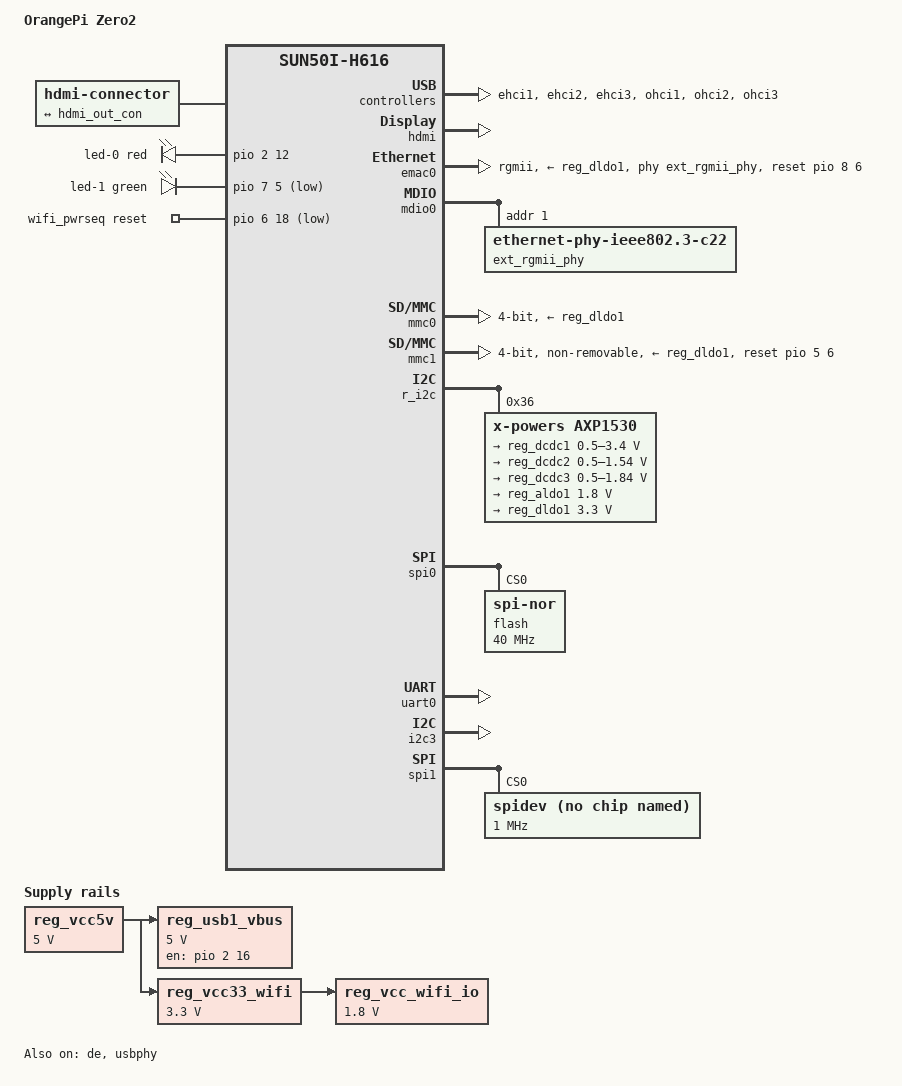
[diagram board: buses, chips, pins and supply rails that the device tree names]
// SPDX-License-Identifier: (GPL-2.0+ or MIT)
/*
 * Copyright (C) 2020 Arm Ltd.
 */

/dts-v1/;

#include "sun50i-h616.dtsi"
#include <dt-bindings/gpio/gpio.h>
#include <dt-bindings/interrupt-controller/arm-gic.h>
#include <dt-bindings/leds/common.h>

/ {
	model = "OrangePi Zero2";
	compatible = "xunlong,orangepi-zero2", "allwinner,sun50i-h616";

	aliases {
		ethernet0 = &emac0;
		serial0 = &uart0;
		// serial1 = &uart1;
	};

	chosen {
		stdout-path = "serial0:115200n8";
	};

	connector {
		compatible = "hdmi-connector";
		type = "d";

		port {
			hdmi_con_in: endpoint {
				remote-endpoint = <&hdmi_out_con>;
			};
		};
	};

	leds {
		compatible = "gpio-leds";

		led-0 {
			function = LED_FUNCTION_POWER;
			color = <LED_COLOR_ID_RED>;
			gpios = <&pio 2 12 GPIO_ACTIVE_HIGH>; /* PC12 */
		};

		led-1 {
			function = LED_FUNCTION_STATUS;
			color = <LED_COLOR_ID_GREEN>;
			// gpios = <&pio 2 13 GPIO_ACTIVE_HIGH>; /* PC13 */
            gpios = <&pio 7 5 GPIO_ACTIVE_LOW>; /* PH5 */
			default-state = "on";
		};
	};

	reg_vcc5v: vcc5v {
		/* board wide 5V supply directly from the USB-C socket */
		compatible = "regulator-fixed";
		regulator-name = "vcc-5v";
		regulator-min-microvolt = <5000000>;
		regulator-max-microvolt = <5000000>;
		regulator-always-on;
	};

	reg_usb1_vbus: usb1-vbus {
		compatible = "regulator-fixed";
		regulator-name = "usb1-vbus";
		regulator-min-microvolt = <5000000>;
		regulator-max-microvolt = <5000000>;
		vin-supply = <&reg_vcc5v>;
		enable-active-high;
		gpio = <&pio 2 16 GPIO_ACTIVE_HIGH>; /* PC16 */
		status = "okay";
	};

	reg_vcc33_wifi: vcc33-wifi {
		/* Always on 3.3V regulator for WiFi and BT */
		compatible = "regulator-fixed";
		regulator-name = "vcc33-wifi";
		regulator-min-microvolt = <3300000>;
		regulator-max-microvolt = <3300000>;
		regulator-always-on;
		vin-supply = <&reg_vcc5v>;
	};

	reg_vcc_wifi_io: vcc-wifi-io {
		/* Always on 1.8V/300mA regulator for WiFi and BT IO */
		compatible = "regulator-fixed";
		regulator-name = "vcc-wifi-io";
		regulator-min-microvolt = <1800000>;
		regulator-max-microvolt = <1800000>;
		regulator-always-on;
		vin-supply = <&reg_vcc33_wifi>;
	};

	wifi_pwrseq: wifi-pwrseq {
		compatible = "mmc-pwrseq-simple";
		// clocks = <&rtc 1>;
		// clock-names = "osc32k-out";
		reset-gpios = <&pio 6 18 GPIO_ACTIVE_LOW>; /* PG18 */
		post-power-on-delay-ms = <400>;
	};
};

&de {
	status = "okay";
};

&ehci1 {
	status = "okay";
};

&ehci2 {
	status = "okay";
};

&ehci3 {
	status = "okay";
};

&hdmi {
	// hvcc-supply = <&reg_bldo1>;
	hvcc-supply = <&reg_aldo1>;
	status = "okay";
};

&hdmi_out {
	hdmi_out_con: endpoint {
		remote-endpoint = <&hdmi_con_in>;
	};
};

/* USB 2 & 3 are on headers only. */

&emac0 {
	pinctrl-names = "default";
	pinctrl-0 = <&ext_rgmii_pins>;
	phy-mode = "rgmii";
	phy-handle = <&ext_rgmii_phy>;

	reset-gpios = <&pio 8 6 GPIO_ACTIVE_HIGH>; /* PI6 */

	// phy-supply = <&reg_dcdce>;
	phy-supply = <&reg_dldo1>;

	allwinner,rx-delay-ps = <3100>;
	allwinner,tx-delay-ps = <700>;
	// status = "disabled";
	status = "okay";
};

&mdio0 {
	ext_rgmii_phy: ethernet-phy@1 {
		compatible = "ethernet-phy-ieee802.3-c22";
		reg = <1>;
	};
};

&mmc0 {
	// vmmc-supply = <&reg_dcdce>;
	// cd-gpios = <&pio 5 6 GPIO_ACTIVE_LOW>;	/* PF6 */

	vmmc-supply = <&reg_dldo1>;
	// cd-gpios = <&pio 8 14 GPIO_ACTIVE_LOW>;	/* PI14 */

	// sd-uhs-sdr104;
    // sd-uhs-sdr50;
    // sd-uhs-sdr25;
    // sd-uhs-sdr12;
	no-1-8-v;
	// no-mmc;
	// no-sdio;

	bus-width = <4>;
	status = "okay";
};

&mmc1 {
	// vmmc-supply = <&reg_vcc33_wifi>;
	// vqmmc-supply = <&reg_vcc_wifi_io>;
	// mmc-pwrseq = <&wifi_pwrseq>;

	vmmc-supply = <&reg_dldo1>;
	vqmmc-supply = <&reg_dldo1>;
	mmc-pwrseq = <&wifi_pwrseq>;

	// max-frequency = <400000>;
	// max-frequency = <150000000>;

	reset-gpios = <&pio 5 6 GPIO_ACTIVE_HIGH>; /* PF6 */

	// reset-gpios = <&pio 6 18 GPIO_ACTIVE_HIGH>; 	// PG18
	// reset-gpios = <&pio 6 15 GPIO_ACTIVE_HIGH>; /* PG15 */
	
	// sunxi-dis-signal-vol-sw;
	// sdio-used-1v8;
	// ignore-pm-notify;

	bus-width = <4>;
	non-removable;
	keep-power-in-suspend;
	// mmc-ddr-1_8v;
	status = "okay";
};

&ohci1 {
	status = "okay";
};

&ohci2 {
	status = "okay";
};

&ohci3 {
	status = "okay";
};

// &r_rsb {
// 	status = "okay";
// };

&r_i2c {
	status = "okay";

	axp1530: pmic@36 {
		compatible = "x-powers,axp1530";
		reg = <0x36>;
		// reg = <0x745>;
		// interrupt-parent = <&nmi_intc>;
		// interrupts = <0 IRQ_TYPE_LEVEL_LOW>;
		// interrupt-controller;
		// #interrupt-cells = <1>;

		wakeup-source;

		standby_param: standby_param {
			vcc-dram = <0x4>;
		};

		regulators{
			reg_dcdc1: dcdc1 {
				regulator-name = "axp1530-dcdc1";
				regulator-min-microvolt = <500000>;
				regulator-max-microvolt = <3400000>;
				regulator-step-delay-us = <25>;
				regulator-final-delay-us = <50>;
				regulator-always-on;
			};

			reg_dcdc2: dcdc2 {
				regulator-name = "axp1530-dcdc2";
				regulator-min-microvolt = <500000>;
				regulator-max-microvolt = <1540000>;
				regulator-step-delay-us = <25>;
				regulator-final-delay-us = <50>;
				regulator-ramp-delay = <200>; // FIXME
				regulator-always-on;
			};

			reg_dcdc3: dcdc3 {
				regulator-name = "axp1530-dcdc3";
				regulator-min-microvolt = <500000>;
				regulator-max-microvolt = <1840000>;
				regulator-step-delay-us = <25>;
				regulator-final-delay-us = <50>;
				regulator-always-on;
			};

			reg_aldo1: ldo1 {
				regulator-name = "axp1530-aldo1";
				regulator-min-microvolt = <1800000>;
				regulator-max-microvolt = <1800000>;
				regulator-step-delay-us = <25>;
				regulator-final-delay-us = <50>;
				regulator-always-on;
			};

			reg_dldo1: ldo2 {
				regulator-name = "axp1530-dldo1";
				regulator-min-microvolt = <3300000>;
				regulator-max-microvolt = <3300000>;
				regulator-step-delay-us = <25>;
				regulator-final-delay-us = <50>;
				regulator-always-on;
			};
		};
	};

	/*	
	axp305: pmic@36 {
		compatible = "x-powers,axp305", "x-powers,axp805",
			     "x-powers,axp806";
		interrupt-controller;
		#interrupt-cells = <1>;
		reg = <0x36>;

		x-powers,self-working-mode;
		vina-supply = <&reg_vcc5v>;
		vinb-supply = <&reg_vcc5v>;
		vinc-supply = <&reg_vcc5v>;
		vind-supply = <&reg_vcc5v>;
		vine-supply = <&reg_vcc5v>;
		aldoin-supply = <&reg_vcc5v>;
		bldoin-supply = <&reg_vcc5v>;
		cldoin-supply = <&reg_vcc5v>;

		regulators {
			reg_aldo1: aldo1 {
				regulator-always-on;
				regulator-min-microvolt = <3300000>;
				regulator-max-microvolt = <3300000>;
				regulator-name = "vcc-sys";
			};

			reg_aldo2: aldo2 {	// 3.3V on headers 
				regulator-always-on;
				regulator-min-microvolt = <3300000>;
				regulator-max-microvolt = <3300000>;
				regulator-name = "vcc3v3-ext";
			};

			reg_aldo3: aldo3 {	// 3.3V on headers 
				regulator-always-on;
				regulator-min-microvolt = <3300000>;
				regulator-max-microvolt = <3300000>;
				regulator-name = "vcc3v3-ext2";
			};

			reg_bldo1: bldo1 {
				regulator-always-on;
				regulator-min-microvolt = <1800000>;
				regulator-max-microvolt = <1800000>;
				regulator-name = "vcc1v8";
			};

			bldo2 {
				// unused 
			};

			bldo3 {
				// unused 
			};

			bldo4 {
				// unused 
			};

			cldo1 {
				// reserved 
			};

			cldo2 {
				// unused 
			};

			cldo3 {
				// unused 
			};

			reg_dcdca: dcdca {
				regulator-always-on;
				regulator-min-microvolt = <810000>;
				regulator-max-microvolt = <1080000>;
				regulator-name = "vdd-cpu";
			};

			reg_dcdcc: dcdcc {
				regulator-always-on;
				regulator-min-microvolt = <810000>;
				regulator-max-microvolt = <1080000>;
				regulator-name = "vdd-gpu-sys";
			};

			reg_dcdcd: dcdcd {
				regulator-always-on;
				regulator-min-microvolt = <1400000>;
				regulator-max-microvolt = <1400000>;
				regulator-name = "vdd-dram";
			};

			reg_dcdce: dcdce {
				regulator-always-on;
				regulator-min-microvolt = <3300000>;
				regulator-max-microvolt = <3300000>;
				regulator-name = "vcc-eth-mmc";
			};

			sw {
				// unused 
			};
		};
	};
	*/
};

&spi0  {
	status = "okay";

	flash@0 {
		#address-cells = <1>;
		#size-cells = <1>;
		compatible = "jedec,spi-nor";
		reg = <0>;
		spi-max-frequency = <40000000>;
	};
};

&uart0 {
	pinctrl-names = "default";
	pinctrl-0 = <&uart0_ph_pins>;
	status = "okay";
};

// &uart1 {
// 	pinctrl-names = "default";
// 	pinctrl-0 = <&uart1_pins>;
// 	status = "okay";
// };

&usbotg {
	/*
	 * PHY0 pins are connected to a USB-C socket, but a role switch
	 * is not implemented: both CC pins are pulled to GND.
	 * The VBUS pins power the device, so a fixed peripheral mode
	 * is the best choice.
	 * The board can be powered via GPIOs, in this case port0 *can*
	 * act as a host (with a cable/adapter ignoring CC), as VBUS is
	 * then provided by the GPIOs. Any user of this setup would
	 * need to adjust the DT accordingly: dr_mode set to "host",
	 * enabling OHCI0 and EHCI0.
	 */
	// dr_mode = "peripheral";
	dr_mode = "host";
	status = "disabled";
	// status = "okay";
};

&usbphy {
	usb1_vbus-supply = <&reg_usb1_vbus>;
	status = "okay";
};

&i2c3 {
	pinctrl-names = "default";
	pinctrl-0 = <&i2c3_ph_pins>;
	status = "okay";
};



&spi1 {
	#address-cells = <1>;
	#size-cells = <0>;
	status = "okay";

	spidev@1 {
		compatible = "spidev";
		status = "okay";
		reg = <0>;
		spi-max-frequency = <1000000>;
	};
};

/*
&ir {
	pinctrl-names = "default";
	pinctrl-0 = <&ir_rx_pin>;
	status = "okay";
};

&codec {
        allwinner,audio-routing =
                "Line Out", "LINEOUT";
        status = "okay";
};

&ahub_codec {
	status = "okay";
};

&ahub_cpudai0 {
	status = "okay";
};

&ahub_cpudai1 {
	status = "okay";
};

&ahub_cpudai2 {
	status = "okay";
};

&sndahub {
	status = "okay";
};

&ahub_i2s1 {
	status = "okay";
};

&hdmi_audio {
	status = "okay";
};
*/
